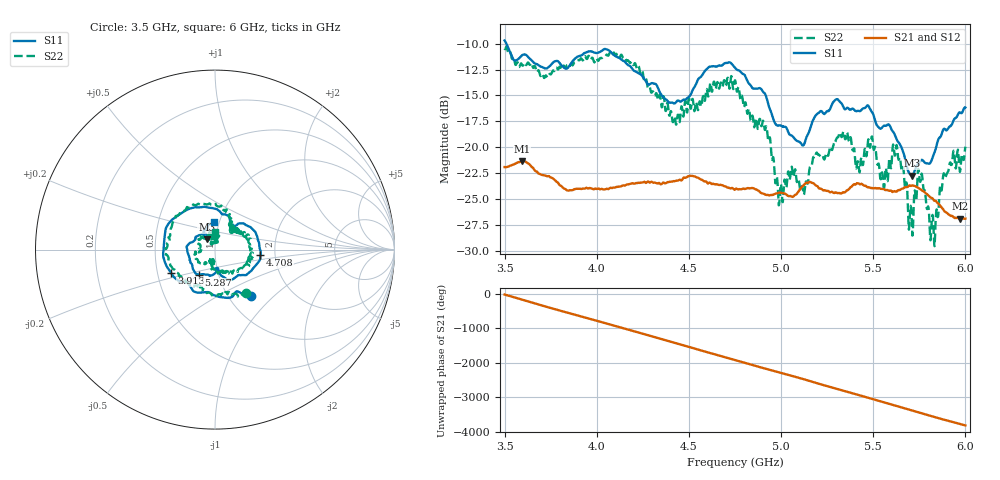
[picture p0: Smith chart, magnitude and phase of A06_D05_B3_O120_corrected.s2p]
! Created with skrf 1.9.0 (http://scikit-rf.org).
# Hz S RI R 50.0
!freq ReS11 ImS11 ReS21 ImS21 ReS12 ImS12 ReS22 ImS22
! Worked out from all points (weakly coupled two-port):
!   1601 points, 3.5 GHz to 6 GHz, reference 50 ohm
!   highest |S21| = -21.33 dB at 3.594 GHz (marker M1); lowest = -26.9 dB at 5.973 GHz (marker M2)
!   lowest |S11| = -22.7 dB at 5.711 GHz (marker M3), VSWR 1.16, Z = 45.3 + j5.13 ohm
!   |S11| at or under -10 dB: 3.51 GHz to end of sweep
!   |S22| runs from -29.6 to -10.3 dB; largest |S21 - S12| = 0.00098
!   S11 on the Smith chart (normalised r, x): 3.5 GHz: 1.27, -0.73; 3.913 GHz: 0.59, -0.17; 4.708 GHz: 1.67, -0.11; 5.287 GHz: 0.80, -0.23; 6 GHz: 0.94, +0.30
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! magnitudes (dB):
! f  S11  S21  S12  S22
! 3.5 GHz  -9.7  -21.9  -21.9  -10.5
! 3.594 GHz  -11.1  -21.3  -21.3  -12.0
! 3.913 GHz  -11.1  -24.0  -24.0  -11.4
! 3.917 GHz  -11.1  -24.0  -24.0  -11.5
! 4.142 GHz  -11.6  -23.7  -23.7  -11.4
! 4.334 GHz  -14.4  -23.5  -23.4  -15.4
! 4.422 GHz  -15.8  -23.3  -23.3  -17.1
! 4.708 GHz  -11.9  -23.9  -23.8  -13.4
! 4.75 GHz  -12.3  -24.1  -24.0  -13.5
! 4.912 GHz  -14.8  -24.6  -24.5  -18.3
! 4.997 GHz  -17.9  -24.4  -24.4  -23.6
! 5.116 GHz  -19.8  -23.8  -23.7  -23.8
! 5.167 GHz  -17.7  -23.4  -23.4  -21.7
! 5.287 GHz  -15.6  -24.4  -24.4  -19.6
! 5.584 GHz  -17.8  -24.2  -24.2  -21.6
! 5.634 GHz  -19.5  -24.2  -24.1  -20.9
! 5.711 GHz  -22.7  -23.7  -23.6  -28.1
! 5.755 GHz  -21.3  -24.0  -24.0  -23.3
! 5.823 GHz  -20.9  -25.0  -25.0  -26.7
! 5.888 GHz  -18.2  -26.2  -26.2  -22.8
! 5.973 GHz  -16.7  -26.9  -26.9  -22.1
! 6 GHz  -16.2  -26.9  -26.9  -19.9
